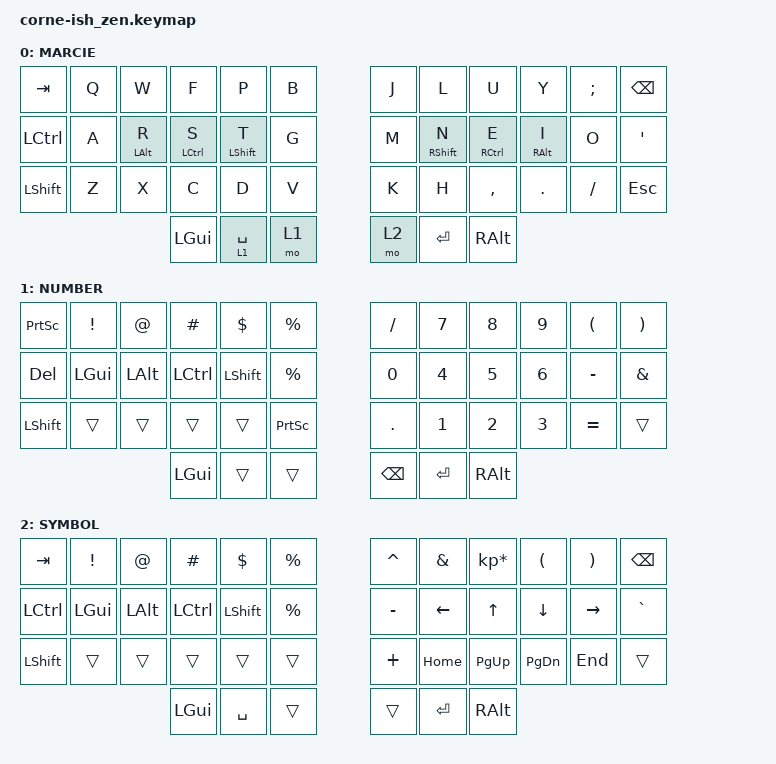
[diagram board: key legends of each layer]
/*
 * Copyright (c) 2020 The ZMK Contributors
 *
 * SPDX-License-Identifier: MIT
 */

#include <behaviors.dtsi>
#include <dt-bindings/zmk/keys.h>
#include <dt-bindings/zmk/bt.h>
#define DEFAULT 0
#define LOWER   1
#define RAISE   2

/ {
   behaviors {
        bh: layer_taps {
            compatible = "zmk,behavior-hold-tap";
            label = "Layer-Tap";
            #binding-cells = <2>;
            tapping_term_ms = <300>;
            flavor = "tap-preferred";
            bindings = <&mo>, <&kp>;
        };
    };
    
    behaviors {
                hm: homerow_mods {
                compatible = "zmk,behavior-hold-tap";
                label = "HOMEROW_MODS";
                #binding-cells = <2>;
                tapping-term-ms = <300>;
                quick_tap_ms = <0>;
                flavor = "tap-preferred";
                bindings = <&kp>, <&kp>;
        };
    };

    combos {
                compatible = "zmk,combos";
                combo_esc {
                        timeout-ms = <75>;
                        key-positions = <0 1>;
                        bindings = <&kp ESC>;
                };
                combo_bksp {
                        timeout-ms = <100>;
                        key-positions = <8 9>;
                        bindings = <&kp BSPC>;
                };
                combo_entr {
                        timeout-ms = <75>;
                        key-positions = <33 34>;
                        bindings = <&kp RET>;
                };
                combo_tab {
                        timeout-ms = <75>;
                        key-positions = <25 26>;
                        bindings = <&kp TAB>;
                };
        };

};

/ {
        keymap {
                compatible = "zmk,keymap";

                default_layer {
                        label = "MARCIE";
// -----------------------------------------------------------------------------------------
// |  TAB |  Q  |  W  |  F  |  P  |  B  |   |  J  |  L   |  U  |  Y  |  ;  | BKSP |
// | CTRL |  A  |  R  |  S  |  T  |  G  |   |  M  |  N   |  E  |  I  |  O  |  '   |
// | SHFT |  Z  |  X  |  C  |  D  |  V  |   |  K  |  H   |  ,  |  .  |  /  | ESC  |
//                    | GUI | LWR | LWR |   | RSE | RET  | ALT |
                        bindings = <
   &kp TAB   &kp Q       &kp W      &kp F       &kp P       &kp B   &kp J &kp L        &kp U         &kp Y        &kp SEMI    &kp BSPC
   &kp LCTRL &kp A       &hm LALT R &hm LCTRL S &hm LSHFT T &kp G   &kp M &hm RSHFT N  &hm RCTRL E   &hm RALT I   &kp O       &kp SQT
   &kp LSHFT &kp Z       &kp X      &kp C       &kp D       &kp V   &kp K &kp H        &kp COMMA     &kp DOT      &kp FSLH    &kp ESC
            &kp LGUI &bh 1 SPACE &mo 1   &mo 2 &kp RET &kp RALT
                        >;
                };
                lower_layer {
                        label = "NUMBER";
// -----------------------------------------------------------------------------------------
// | PSCRN|  !  |  @  |  #  |  $  |  %  |   |  /  |  7  |  8  |   9  |   (  |  )  |
// | DEL  |  !  |  @  |  #  |  $  |  %  |   | 0   |  4  |  5  |   6  |  -   |  &  | 
// | SHFT | BT1 | BT2 | BT3 | BT4 | BT5 |   |  .  |  1  |  2  |   3  |   =  |     |
//                    | GUI |     | SPC |   | BKSP|     | ALT |
                        bindings = <
   &kp PSCRN  &kp EXCL  &kp AT   &kp HASH  &kp DLLR    &kp PRCNT     &kp FSLH  &kp N7  &kp N8 &kp N9  &kp LPAR  &kp RPAR    
   &kp DEL    &kp LGUI  &kp LALT &kp LCTRL &kp LSHFT   &kp PRCNT     &kp N0    &kp N4  &kp N5 &kp N6  &kp MINUS &kp AMPS 
   &kp LSHFT  &trans    &trans   &trans    &trans      &kp PSCRN     &kp DOT   &kp N1  &kp N2 &kp N3  &kp EQUAL &trans
                                 &kp LGUI  &trans     &trans         &kp BSPC &kp RET   &kp RALT
                        >;
                };

                raise_layer {
                        label = "SYMBOL";
// -----------------------------------------------------------------------------------------
// |  TAB |  !  |  @  |  #  |  $  |  %  |   |  ^  |  &    |    *   |    (   |     )     | BKSP  |
// | CTRL |     |     |     |     |     |   |  -  |  LEFT |   UP   |  DOWN  |   RIGHT   |   `   |
// | SHFT |     |     |     |     |     |   |BTCLR|  +    |  HOME  |   END  |   PG_UP   | PG_DN |
//                    | GUI |     | SPC |   | ENT |       | ALT |
                        bindings = <
   &kp  TAB  &kp EXCL  &kp AT   &kp HASH  &kp DLLR   &kp PRCNT         &kp CARET  &kp AMPS  &kp KP_MULTIPLY &kp LPAR  &kp RPAR  &kp BSPC
   &kp LCTRL &kp LGUI  &kp LALT &kp LCTRL &kp LSHFT  &kp PRCNT         &kp MINUS  &kp LEFT  &kp UP          &kp DOWN  &kp RIGHT &kp GRAVE
   &kp LSHFT &trans    &trans   &trans    &trans     &trans            &kp PLUS   &kp HOME  &kp PG_UP       &kp PG_DN &kp END   &trans
                    	     &kp LGUI &kp SPACE &trans                        &trans   &kp RET  &kp RALT
                        >;
                };
        };
};
